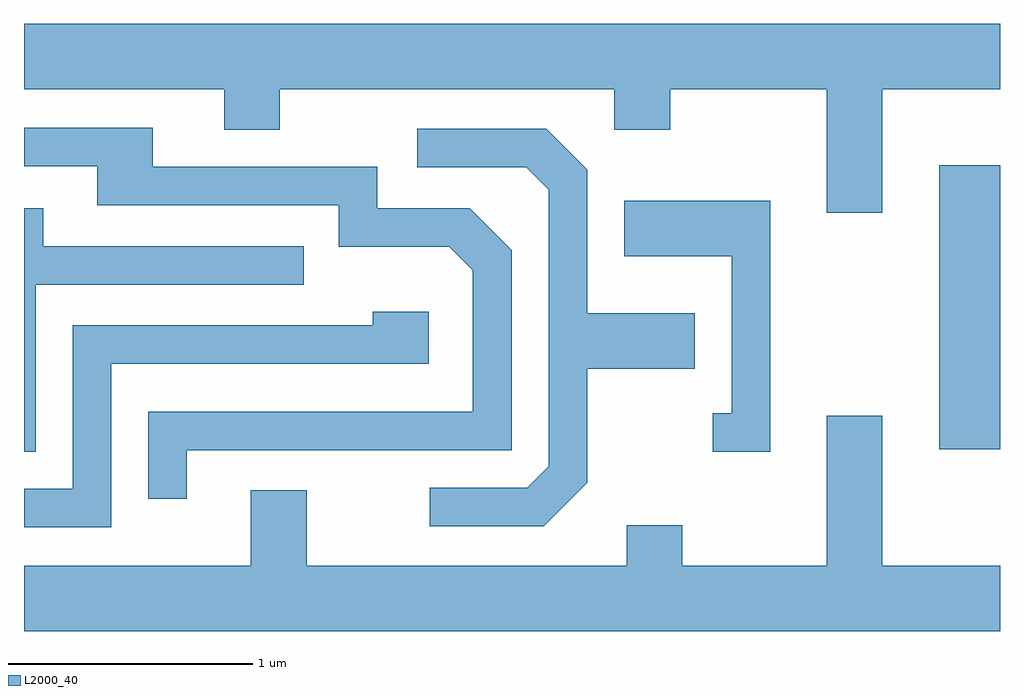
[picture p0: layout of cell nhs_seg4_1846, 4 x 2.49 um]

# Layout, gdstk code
import gdstk
lib = gdstk.Library(unit=1e-6, precision=1e-09)
def R(c, l, rs):  # rectangles x0, y0, x1, y1
    for r in rs: c.add(gdstk.rectangle(r[:2], r[2:], *l))
def P(c, l, *ps):  # polygons
    for p in ps: c.add(gdstk.Polygon(p, *l))
L2000_40 = (2000, 40)

nhs_seg4_1846 = lib.new_cell('nhs_seg4_1846')
R(nhs_seg4_1846, L2000_40, [(243.361,1275.501,243.611,1276.664)])
P(nhs_seg4_1846, L2000_40, [(243.129,1276.976),(243.611,1276.976),(243.611,1277.244),(239.611,1277.244),(239.611,1276.976),(240.431,1276.976),(240.431,1276.811),(240.659,1276.811),(240.659,1276.976),(242.031,1276.976),(242.031,1276.811),(242.259,1276.811),(242.259,1276.976),(242.901,1276.976),(242.901,1276.471),(243.129,1276.471)],
  [(240.279,1275.496),(241.609,1275.496),(241.609,1276.317),(241.437,1276.489),(241.059,1276.489),(241.059,1276.659),(240.139,1276.659),(240.139,1276.819),(239.611,1276.819),(239.611,1276.661),(239.911,1276.661),(239.911,1276.501),(240.901,1276.501),(240.901,1276.331),(241.354,1276.331),(241.451,1276.234),(241.451,1275.654),(240.121,1275.654),(240.121,1275.298),(240.279,1275.298)],
  [(241.919,1275.364),(241.919,1275.831),(242.359,1275.831),(242.359,1276.059),(241.919,1276.059),(241.919,1276.647),(241.752,1276.814),(241.223,1276.814),(241.223,1276.656),(241.669,1276.656),(241.761,1276.564),(241.761,1275.432),(241.674,1275.344),(241.273,1275.344),(241.273,1275.186),(241.742,1275.186)],
  [(242.669,1276.519),(242.071,1276.519),(242.071,1276.291),(242.511,1276.291),(242.511,1275.649),(242.433,1275.649),(242.433,1275.491),(242.669,1275.491)],
  [(239.659,1276.176),(240.758,1276.176),(240.758,1276.334),(239.689,1276.334),(239.689,1276.489),(239.611,1276.489),(239.611,1275.491),(239.659,1275.491)],
  [(239.969,1275.851),(241.269,1275.851),(241.269,1276.064),(241.041,1276.064),(241.041,1276.009),(239.811,1276.009),(239.811,1275.339),(239.611,1275.339),(239.611,1275.181),(239.969,1275.181)],
  [(243.611,1275.024),(243.129,1275.024),(243.129,1275.639),(242.901,1275.639),(242.901,1275.024),(242.309,1275.024),(242.309,1275.189),(242.081,1275.189),(242.081,1275.024),(240.769,1275.024),(240.769,1275.334),(240.541,1275.334),(240.541,1275.024),(239.611,1275.024),(239.611,1274.756),(243.611,1274.756)])

lib.write_gds('nhs_seg4_1846.gds')
